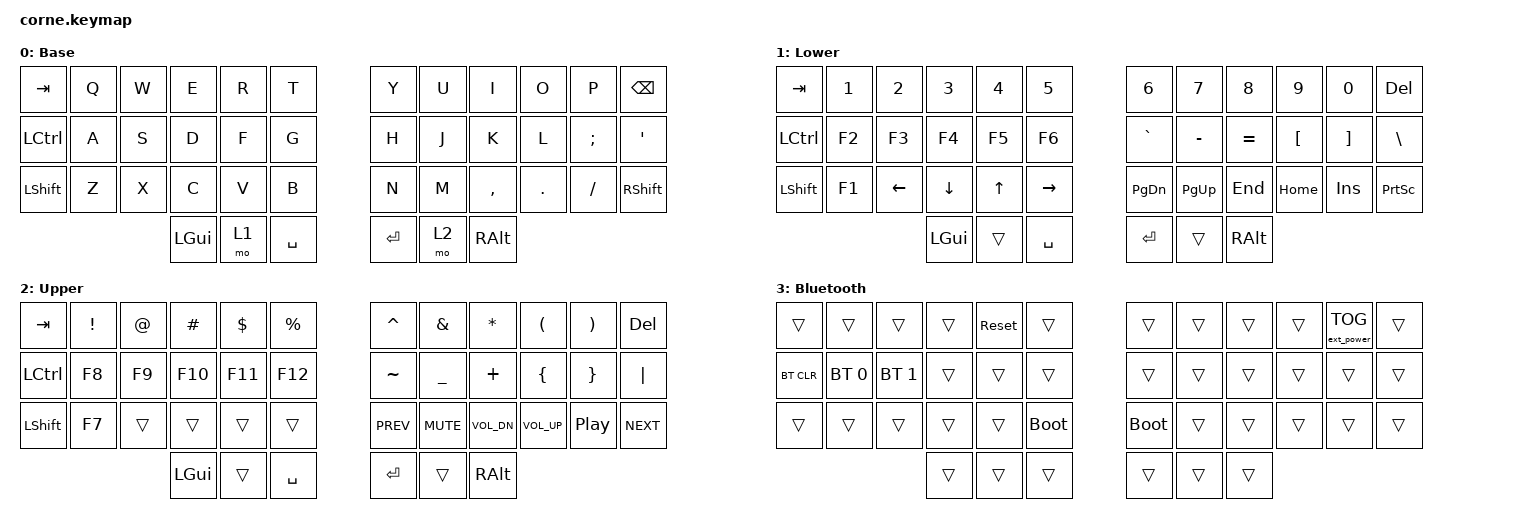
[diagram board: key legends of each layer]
/*
 * Copyright (c) 2020 The ZMK Contributors
 *
 * SPDX-License-Identifier: MIT
 */

#include <behaviors.dtsi>
#include <dt-bindings/zmk/bt.h>
#include <dt-bindings/zmk/ext_power.h>
#include <dt-bindings/zmk/keys.h>

/ {
    combos {
        compatible = "zmk,combos";

        Escape {
            bindings = <&kp ESC>;
            key-positions = <36 37>;
            layers = <0>;
        };
    };

    keymap {
        compatible = "zmk,keymap";

        default_layer {
            // -----------------------------------------------------------------------------------------
            // |  TAB |  Q  |  W  |  E  |  R  |  T  |   |  Y  |  U   |  I  |  O  |  P  | BSPC |
            // | CTRL |  A  |  S  |  D  |  F  |  G  |   |  H  |  J   |  K  |  L  |  ;  |  '   |
            // | SHFT |  Z  |  X  |  C  |  V  |  B  |   |  N  |  M   |  ,  |  .  |  /  | ESC  |
            //                    | GUI | LWR | SPC |   | ENT | RSE  | ALT |

            display-name = "Base";
            bindings = <
&kp TAB    &kp Q  &kp W  &kp E     &kp R  &kp T        &kp Y    &kp U  &kp I      &kp O    &kp P     &kp BSPC
&kp LCTRL  &kp A  &kp S  &kp D     &kp F  &kp G        &kp H    &kp J  &kp K      &kp L    &kp SEMI  &kp SQT
&kp LSHFT  &kp Z  &kp X  &kp C     &kp V  &kp B        &kp N    &kp M  &kp COMMA  &kp DOT  &kp FSLH  &kp RIGHT_SHIFT
                         &kp LGUI  &mo 1  &kp SPACE    &kp RET  &mo 2  &kp RALT
            >;
        };

        lower_layer {
            // -----------------------------------------------------------------------------------------
            // |  TAB |  1  |  2  |  3  |  4  |  5  |   |  6  |  7  |  8  |  9  |  0  | BSPC |
            // | BTCLR| BT1 | BT2 | BT3 | BT4 | BT5 |   | LFT | DWN |  UP | RGT |     |      |
            // | SHFT |     |     |     |     |     |   |     |     |     |     |     |      |
            //                    | GUI |     | SPC |   | ENT |     | ALT |

            display-name = "Lower";
            bindings = <
&kp TAB    &kp N1  &kp N2          &kp N3          &kp N4        &kp N5             &kp N6     &kp N7     &kp N8     &kp N9            &kp N0             &kp DEL
&kp LCTRL  &kp F2  &kp F3          &kp F4          &kp F5        &kp F6             &kp GRAVE  &kp MINUS  &kp EQUAL  &kp LEFT_BRACKET  &kp RIGHT_BRACKET  &kp BACKSLASH
&kp LSHFT  &kp F1  &kp LEFT_ARROW  &kp DOWN_ARROW  &kp UP_ARROW  &kp RIGHT_ARROW    &kp PG_DN  &kp PG_UP  &kp END    &kp HOME          &kp INS            &kp PSCRN
                                   &kp LGUI        &trans        &kp SPACE          &kp RET    &trans     &kp RALT
            >;
        };

        raise_layer {
            // -----------------------------------------------------------------------------------------
            // |  TAB |  !  |  @  |  #  |  $  |  %  |   |  ^  |  &  |  *  |  (  |  )  | BSPC |
            // | CTRL |     |     |     |     |     |   |  -  |  =  |  [  |  ]  |  \  |  `   |
            // | SHFT |     |     |     |     |     |   |  _  |  +  |  {  |  }  | "|" |  ~   |
            //                    | GUI |     | SPC |   | ENT |     | ALT |

            display-name = "Upper";
            bindings = <
&kp TAB    &kp EXCL  &kp AT  &kp HASH  &kp DLLR  &kp PRCNT    &kp CARET   &kp AMPS    &kp ASTRK     &kp LPAR      &kp RPAR  &kp DEL
&kp LCTRL  &kp F8    &kp F9  &kp F10   &kp F11   &kp F12      &kp TILDE   &kp UNDER   &kp PLUS      &kp LBRC      &kp RBRC  &kp PIPE
&kp LSHFT  &kp F7    &trans  &trans    &trans    &trans       &kp C_PREV  &kp C_MUTE  &kp C_VOL_DN  &kp C_VOL_UP  &kp C_PP  &kp C_NEXT
                             &kp LGUI  &trans    &kp SPACE    &kp RET     &trans      &kp RALT
            >;
        };

        blu_layer {
            display-name = "Bluetooth";
            bindings = <
&trans      &trans        &trans        &trans  &sys_reset  &trans         &trans       &trans  &trans  &trans  &ext_power EP_TOG  &trans
&bt BT_CLR  &bt BT_SEL 0  &bt BT_SEL 1  &trans  &trans      &trans         &trans       &trans  &trans  &trans  &trans             &trans
&trans      &trans        &trans        &trans  &trans      &bootloader    &bootloader  &trans  &trans  &trans  &trans             &trans
                                        &trans  &trans      &trans         &trans       &trans  &trans
            >;
        };
    };

    conditional_layers {
        compatible = "zmk,conditional-layers";

        blu {
            if-layers = <1 2>;
            then-layer = <3>;
        };
    };
};
